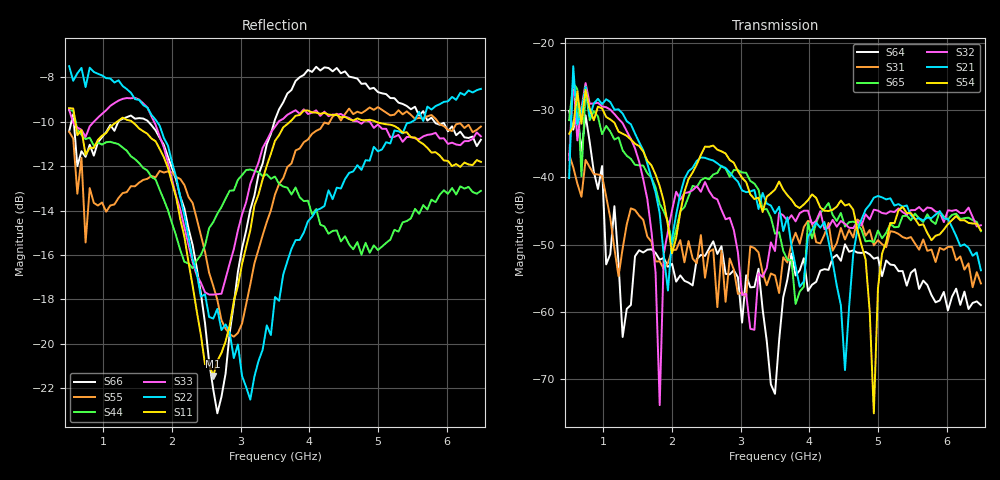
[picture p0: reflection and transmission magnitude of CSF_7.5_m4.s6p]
!Keysight Technologies,M9804A,MY58100912,A.14.10.03
!Date: Thursday, April 27, 2023 10:28:33
!Correction: S11(C  6-Port  )
!S12(C  6-Port  )
!S13(C  6-Port  )
!S14(C  6-Port  )
!S15(C  6-Port  )
!S16(C  6-Port  )
!S21(C  6-Port  )
!S22(C  6-Port  )
!S23(C  6-Port  )
!S24(C  6-Port  )
!S25(C  6-Port  )
!S26(C  6-Port  )
!S31(C  6-Port  )
!S32(C  6-Port  )
!S33(C  6-Port  )
!S34(C  6-Port  )
!S35(C  6-Port  )
!S36(C  6-Port  )
!S41(C  6-Port  )
!S42(C  6-Port  )
!S43(C  6-Port  )
!S44(C  6-Port  )
!S45(C  6-Port  )
!S46(C  6-Port  )
!S51(C  6-Port  )
!S52(C  6-Port  )
!S53(C  6-Port  )
!S54(C  6-Port  )
!S55(C  6-Port  )
!S56(C  6-Port  )
!S61(C  6-Port  )
!S62(C  6-Port  )
!S63(C  6-Port  )
!S64(C  6-Port  )
!S65(C  6-Port  )
!S66(C  6-Port  )
!S6P File: Measurement: :
# Hz S  RI  R 50
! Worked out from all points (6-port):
!   101 points, 500 MHz to 6.5 GHz, reference 50 ohm
!   strongest paths, dB at 500 MHz, 2 GHz, 3.5 GHz, 5 GHz, 6.5 GHz:
!     S54: -33.5, -51.3, -41.8, -56.5, -47.9
!     S21: -40.1, -49.1, -45.3, -42.8, -53.8
!     S32: -37.4, -44.9, -51.0, -44.9, -47.1
!     S65: -31.5, -50.0, -48.4, -47.9, -48.0
!     S31: -36.6, -50.8, -54.6, -49.3, -55.8
!     S64: -30.1, -52.9, -72.2, -51.9, -59.0
!   lowest |S11| = -21.4 dB at 2.6 GHz (marker M1), VSWR 1.18, Z = 42.5 + j2.21 ohm
!   |S11| at or under -10 dB: 590.1 MHz to 1.196 GHz (605.5 MHz wide, 67.8 % of centre); 1.419 GHz to 3.716 GHz (2.297 GHz wide, 89.5 % of centre); 4.975 GHz to end of sweep
